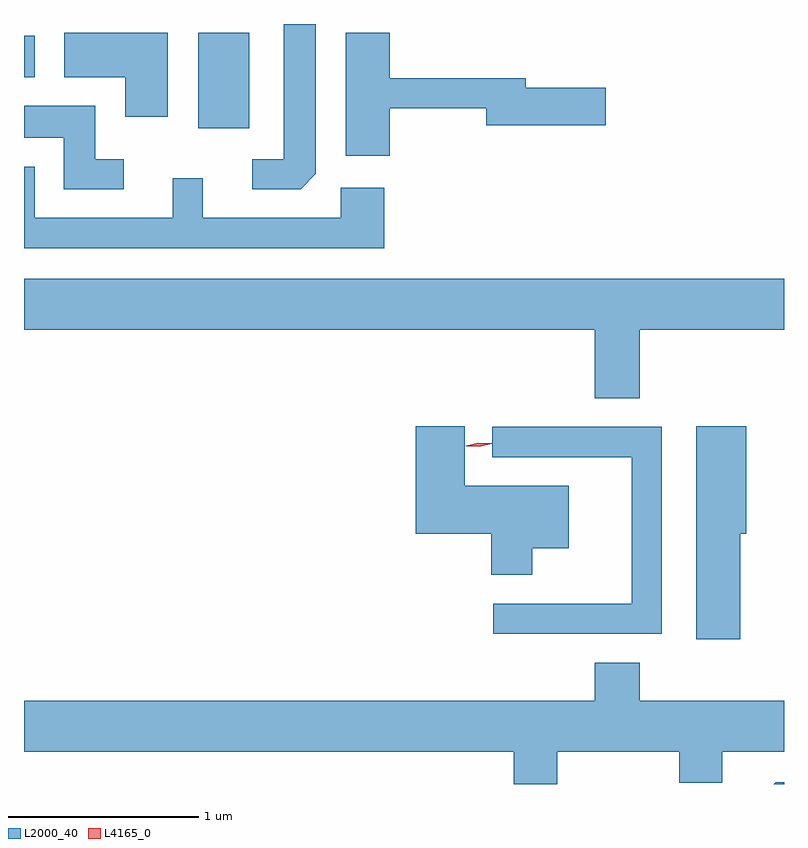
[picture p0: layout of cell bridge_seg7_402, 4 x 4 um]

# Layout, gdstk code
import gdstk
lib = gdstk.Library(unit=1e-6, precision=1e-09)
def R(c, l, rs):  # rectangles x0, y0, x1, y1
    for r in rs: c.add(gdstk.rectangle(r[:2], r[2:], *l))
def P(c, l, *ps):  # polygons
    for p in ps: c.add(gdstk.Polygon(p, *l))
L2000_40 = (2000, 40)
L4165_0 = (4165, 0)

bridge_seg7_402 = lib.new_cell('bridge_seg7_402')
R(bridge_seg7_402, L2000_40, [(1097.681,1715.376,1097.949,1715.879), (1096.763,1715.646,1096.819,1715.864)])
P(bridge_seg7_402, L2000_40, [(1098.299,1715.137),(1098.299,1715.925),(1098.131,1715.925),(1098.131,1715.214),(1097.963,1715.214),(1097.963,1715.056),(1098.219,1715.056)],
  [(1098.689,1715.481),(1099.196,1715.481),(1099.196,1715.391),(1099.824,1715.391),(1099.824,1715.589),(1099.404,1715.589),(1099.404,1715.639),(1098.689,1715.639),(1098.689,1715.879),(1098.456,1715.879),(1098.456,1715.231),(1098.689,1715.231)],
  [(1097.519,1715.879),(1096.976,1715.879),(1096.976,1715.646),(1097.296,1715.646),(1097.296,1715.436),(1097.519,1715.436)],
  [(1097.288,1715.214),(1097.139,1715.214),(1097.139,1715.494),(1096.763,1715.494),(1096.763,1715.326),(1096.971,1715.326),(1096.971,1715.056),(1097.288,1715.056)],
  [(1098.659,1715.064),(1098.431,1715.064),(1098.431,1714.904),(1097.704,1714.904),(1097.704,1715.113),(1097.546,1715.113),(1097.546,1714.904),(1096.819,1714.904),(1096.819,1715.174),(1096.763,1715.174),(1096.763,1714.746),(1098.659,1714.746)],
  [(1100.004,1714.316),(1100.763,1714.316),(1100.763,1714.584),(1096.763,1714.584),(1096.763,1714.316),(1099.766,1714.316),(1099.766,1713.956),(1100.004,1713.956)],
  [(1100.534,1713.241),(1100.564,1713.241),(1100.564,1713.809),(1100.301,1713.809),(1100.301,1712.686),(1100.534,1712.686)],
  [(1099.439,1713.166),(1099.629,1713.166),(1099.629,1713.494),(1099.084,1713.494),(1099.084,1713.809),(1098.826,1713.809),(1098.826,1713.241),(1099.221,1713.241),(1099.221,1713.026),(1099.439,1713.026)],
  [(1100.119,1713.804),(1099.228,1713.804),(1099.228,1713.646),(1099.961,1713.646),(1099.961,1712.874),(1099.233,1712.874),(1099.233,1712.716),(1100.119,1712.716)],
  [(1099.569,1712.096),(1100.211,1712.096),(1100.211,1711.931),(1100.439,1711.931),(1100.439,1712.096),(1100.763,1712.096),(1100.763,1712.364),(1100.004,1712.364),(1100.004,1712.564),(1099.766,1712.564),(1099.766,1712.364),(1096.763,1712.364),(1096.763,1712.096),(1099.341,1712.096),(1099.341,1711.925),(1099.569,1711.925)],
  [(1100.763,1711.934),(1100.719,1711.934),(1100.71,1711.925),(1100.763,1711.925)])
P(bridge_seg7_402, L4165_0, [(1099.158,1713.701),(1099.089,1713.704),(1099.088,1713.704),(1099.089,1713.705),(1099.156,1713.721),(1099.226,1713.718),(1099.226,1713.718),(1099.226,1713.717)],
  [(1099.158,1713.7),(1099.091,1713.703),(1099.091,1713.704),(1099.091,1713.704),(1099.156,1713.72),(1099.222,1713.717),(1099.223,1713.716),(1099.222,1713.716)])

lib.write_gds('bridge_seg7_402.gds')
